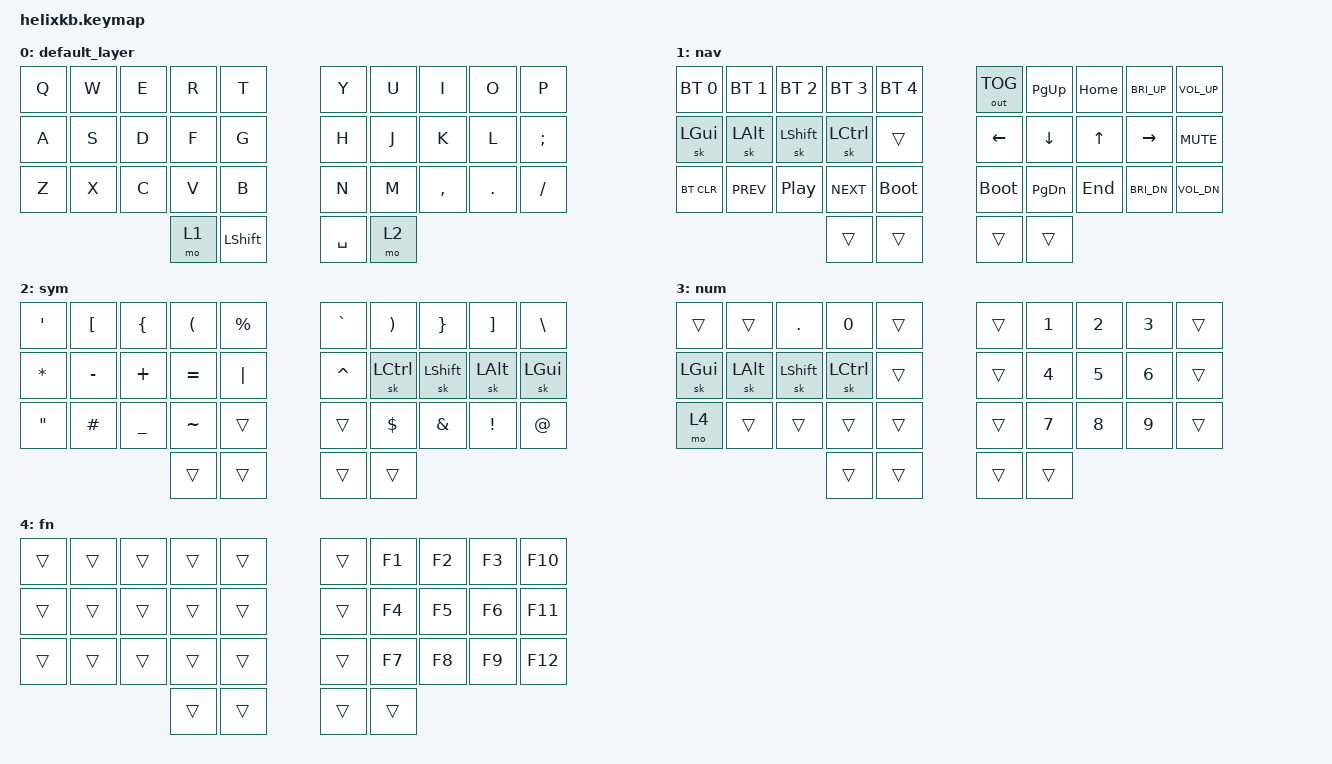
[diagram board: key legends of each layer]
#include <behaviors.dtsi>
#include <dt-bindings/zmk/keys.h>
#include <dt-bindings/zmk/bt.h>
#include <dt-bindings/zmk/outputs.h>

/ {
    conditional_layers {
        compatible = "zmk,conditional-layers";
        tri_layer {
            if-layers = <1 2>;
            then-layer = <3>;
        };
    };
};

/ {
    combos {
        compatible = "zmk,combos";
        combo_esc {
            timeout-ms = <50>;
            key-positions = <11 12>;
						layers = <0>;
            bindings = <&kp ESC>;
        };
        combo_tab {
            timeout-ms = <50>;
            key-positions = <21 22>;
						layers = <0>;
            bindings = <&kp TAB>;
        };
        combo_del {
            timeout-ms = <50>;
            key-positions = <7 8>;
						layers = <0>;
            bindings = <&kp DEL>;
        };
        combo_bspc {
            timeout-ms = <50>;
            key-positions = <17 18>;
						layers = <0>;
            bindings = <&kp BSPC>;
        };
        combo_enter {
            timeout-ms = <50>;
            key-positions = <27 28>;
						layers = <0>;
            bindings = <&kp ENTER>;
        };
    };
};

/ {
    keymap {
        compatible = "zmk,keymap";

        default_layer { 
            bindings = <
                &kp Q   &kp W   &kp E   &kp R   &kp T          &kp Y       &kp U   &kp I       &kp O     &kp P
                &kp A   &kp S   &kp D   &kp F   &kp G          &kp H       &kp J   &kp K       &kp L     &kp SEMI
                &kp Z   &kp X   &kp C   &kp V   &kp B          &kp N       &kp M   &kp COMMA   &kp DOT   &kp FSLH
                                        &mo 1   &kp LSHFT      &kp SPACE   &mo 2
            >;
        };
				nav {
					bindings = <
                &bt BT_SEL 0   &bt BT_SEL 1   &bt BT_SEL 2   &bt BT_SEL 3   &bt BT_SEL 4      &out OUT_TOG        &kp PG_UP   &kp HOME    &kp C_BRI_UP   &kp C_VOL_UP
                &sk LGUI       &sk LALT       &sk LSHFT      &sk LCTRL      &trans            &kp LEFT      &kp DOWN    &kp UP      &kp RIGHT      &kp C_MUTE
                &bt BT_CLR     &kp C_PREV     &kp C_PP       &kp C_NEXT     &bootloader       &bootloader   &kp PG_DN   &kp END     &kp C_BRI_DN   &kp C_VOL_DN
																					                   &trans         &trans            &trans        &trans
					>;
				};
				sym {
					bindings = <
                &kp SQT    &kp LBKT    &kp LBRC    &kp LPAR    &kp PRCNT      &kp GRAVE   &kp RPAR    &kp RBRC    &kp RBKT   &kp BSLH
                &kp STAR   &kp MINUS   &kp PLUS    &kp EQUAL   &kp PIPE       &kp CARET   &sk LCTRL   &sk LSHFT   &sk LALT   &sk LGUI
                &kp DQT    &kp HASH    &kp UNDER   &kp TILDE   &trans         &trans      &kp DLLR    &kp AMPS    &kp EXCL   &kp AT  
																					         &trans      &trans         &trans      &trans
					>;
				};
				num {
					bindings = <
                &trans     &trans     &kp DOT     &kp N0      &trans      &trans   &kp N1   &kp N2   &kp N3   &trans
                &sk LGUI   &sk LALT   &sk LSHFT   &sk LCTRL   &trans      &trans   &kp N4   &kp N5   &kp N6   &trans
                &mo 4     &trans     &trans      &trans      &trans      &trans   &kp N7   &kp N8   &kp N9   &trans
																									&trans      &trans      &trans   &trans
					>;
				};
				fn {
					bindings = <
                &trans     &trans     &trans      &trans      &trans      &trans   &kp F1   &kp F2   &kp F3   &kp F10
                &trans     &trans     &trans      &trans      &trans      &trans   &kp F4   &kp F5   &kp F6   &kp F11
                &trans     &trans     &trans      &trans      &trans      &trans   &kp F7   &kp F8   &kp F9   &kp F12
																									&trans      &trans      &trans   &trans
					>;
				};
    };
 };
